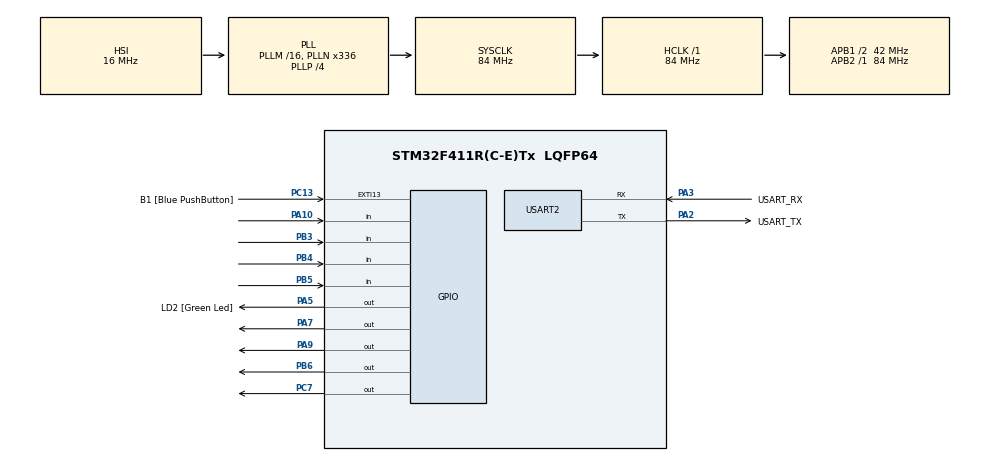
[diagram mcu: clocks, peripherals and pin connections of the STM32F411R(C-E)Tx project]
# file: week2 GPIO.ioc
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Mcu.Family=STM32F4
Mcu.Name=STM32F411R(C-E)Tx
Mcu.Package=LQFP64
NVIC.PriorityGroup=NVIC_PRIORITYGROUP_0
PA10.GPIO_PuPd=GPIO_PULLUP
PA10.Signal=GPIO_Input
PA13.GPIO_Label=TMS
PA13.Mode=Serial_Wire
PA13.Signal=SYS_JTMS-SWDIO
PA14.GPIO_Label=TCK
PA14.Mode=Serial_Wire
PA14.Signal=SYS_JTCK-SWCLK
PA2.GPIO_Label=USART_TX
PA2.Mode=Asynchronous
PA2.Signal=USART2_TX
PA3.GPIO_Label=USART_RX
PA3.Mode=Asynchronous
PA3.Signal=USART2_RX
PA5.GPIO_Label=LD2 [Green Led]
PA5.Signal=GPIO_Output
PA7.PinState=GPIO_PIN_SET
PA7.Signal=GPIO_Output
PA9.PinState=GPIO_PIN_SET
PA9.Signal=GPIO_Output
PB3.GPIO_PuPd=GPIO_PULLUP
PB3.Signal=GPIO_Input
PB4.GPIO_PuPd=GPIO_PULLUP
PB4.Signal=GPIO_Input
PB5.GPIO_PuPd=GPIO_PULLUP
PB5.Signal=GPIO_Input
PB6.PinState=GPIO_PIN_SET
PB6.Signal=GPIO_Output
PC13-ANTI_TAMP.GPIO_Label=B1 [Blue PushButton]
PC13-ANTI_TAMP.GPIO_ModeDefaultEXTI=GPIO_MODE_IT_FALLING
PC13-ANTI_TAMP.Signal=GPXTI13
PC14-OSC32_IN.Mode=LSE-External-Oscillator
PC14-OSC32_IN.Signal=RCC_OSC32_IN
PC15-OSC32_OUT.Mode=LSE-External-Oscillator
PC15-OSC32_OUT.Signal=RCC_OSC32_OUT
PC7.PinState=GPIO_PIN_SET
PC7.Signal=GPIO_Output
PH0\ -\ OSC_IN.Mode=HSE-External-Clock-Source
PH0\ -\ OSC_IN.Signal=RCC_OSC_IN
PH1\ -\ OSC_OUT.Mode=HSE-External-Clock-Source
PH1\ -\ OSC_OUT.Signal=RCC_OSC_OUT
ProjectManager.HeapSize=0x200
ProjectManager.StackSize=0x400
ProjectManager.TargetToolchain=STM32CubeIDE
RCC.48MHZClocksFreq_Value=84000000
RCC.AHBFreq_Value=84000000
RCC.APB1CLKDivider=RCC_HCLK_DIV2
RCC.APB1Freq_Value=42000000
RCC.APB1TimFreq_Value=84000000
RCC.APB2Freq_Value=84000000
RCC.APB2TimFreq_Value=84000000
RCC.CortexFreq_Value=84000000
RCC.FLatency-AdvancedSettings=FLASH_LATENCY_2
RCC.HCLKFreq_Value=84000000
RCC.HSE_VALUE=8000000
RCC.HSI_VALUE=16000000
RCC.PLLN=336
RCC.PLLP=RCC_PLLP_DIV4
RCC.SYSCLKFreq_VALUE=84000000
RCC.SYSCLKSource=RCC_SYSCLKSOURCE_PLLCLK
RCC.VCOOutputFreq_Value=336000000
USART2.VirtualMode=VM_ASYNC
board=NUCLEO-F411RE

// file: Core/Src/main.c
/* USER CODE BEGIN Header */
/**
  ******************************************************************************
  * @file           : main.c
  * @brief          : Main program body
  ******************************************************************************
  * @attention
  *
  * <h2><center>&copy; Copyright (c) 2021 STMicroelectronics.
  * All rights reserved.</center></h2>
  *
  * This software component is licensed by ST under BSD 3-Clause license,
  * the "License"; You may not use this file except in compliance with the
  * License. You may obtain a copy of the License at:
  *                        opensource.org/licenses/BSD-3-Clause
  *
  ******************************************************************************
  */
/* USER CODE END Header */
#include "main.h"

UART_HandleTypeDef huart2;

/* USER CODE BEGIN PV */

uint16_t ButtonMatrixState = 0;
uint32_t ButtonMatrixTimeStamp = 0;
uint16_t SwitchState[2];
int limit =0;
uint32_t State=0;
long long DataBuffer=0;
enum _StateDisplay
{
  StateDisplay_Start = 0,
  StateDisplay_Num1=1,
  StateDisplay_Num2=2,
  StateDisplay_Num3=3,
  StateDisplay_Num4=4,
  StateDisplay_Num5=5,
  StateDisplay_Num6=6,
  StateDisplay_Num7=7,
  StateDisplay_Num8=8,
  StateDisplay_Num9=9,
  StateDisplay_Num10=10,
  StateDisplay_Sucess=11,
  StateDisplay_Error=12
};
/* USER CODE END PV */

void SystemClock_Config(void);
static void MX_GPIO_Init(void);
static void MX_USART2_UART_Init(void);
/* USER CODE BEGIN PFP */

void ButtonMatrixUpdate(); //Scan and Update data of Button Matrix

/* USER CODE END PFP */

int main(void)
{

  /* MCU Configuration--------------------------------------------------------*/

  /* Reset of all peripherals, Initializes the Flash interface and the Systick. */
   HAL_Init();

  /* Configure the system clock */
  SystemClock_Config();

  /* Initialize all configured peripherals */
  MX_GPIO_Init();
  MX_USART2_UART_Init();
  /* USER CODE BEGIN 2 */
  //--------------------------------------------------------------------------------
  //GPIO_PinState SwitchState[2];
  //int DataBuffer=0;
  //int Show=0;

  //--------------------------------------------------------------------------------
  /* USER CODE END 2 */

  /* Infinite loop */
  /* USER CODE BEGIN WHILE */
  //long long DataBuffer=0;
  //--------------------------------------------------------------------------------
  while (1)
  {
	  ButtonMatrixUpdate();
	  check();
//	  if (DataBuffer >= 623405000220)
//	  {
//		  DataBuffer = 62340500022;
//	  }
	  if (DataBuffer > 99999999999)
	  {
		  DataBuffer = DataBuffer *0.1;
	  }
//	  if (SwitchState[0] == 0 && SwitchState[1] != 0)
//	 	  {
//	 		  SwitchState[1] = SwitchState[0];
//	 	  }
//	  SwitchState[0] = ButtonMatrixState;
//	  if(SwitchState[0] != 0 && SwitchState[1] == 0)
//	  {
//		  switch(State)
//		  {
//			  case StateDisplay_Start: //state=0 number 6
//				  if(ButtonMatrixState == 64)//6
//				  {
//					  State =1;
//				  }
//				  else if(ButtonMatrixState ==8 ) //clear
//				  {
//					  State=0;
//				  }
//				  else if(ButtonMatrixState ==128 ) //backspace
//				  {
//					  State=0;
//				  }
//				  else if(ButtonMatrixState ==2048 || ButtonMatrixState ==8192 || ButtonMatrixState ==16384) //blank
//				  {
//					State=0;
//				  }
//				  else //even ok is error
//				  {
//					State=StateDisplay_Error;
//				  }
//				  break;
//			  case StateDisplay_Num1 : //state = 1 number 2
//				  if(ButtonMatrixState == 512)//2
//				  {
//					  State =2;
//				  }
//				  else if(ButtonMatrixState ==8 ) //clear
//				  {
//					  State=0;
//				  }
//				  else if(ButtonMatrixState ==128 ) //backspace
//				  {
//					  State=0;
//				  }
//				  else if(ButtonMatrixState ==2048 || ButtonMatrixState ==8192 || ButtonMatrixState ==16384) //blank
//				  {
//					State=1;
//				  }
//				  else
//				  {
//					State=StateDisplay_Error;
//				  }
//				  break;
//			 case StateDisplay_Num2 : //state = 2 number 3
//				  if(ButtonMatrixState == 1024)//3
//				  {
//					  State =3;
//				  }
//				  else if(ButtonMatrixState ==8 ) //clear
//				  {
//					  State=0;
//				  }
//				  else if(ButtonMatrixState ==128 ) //backspace
//				  {
//					  State=0;
//				  }
//				  else if(ButtonMatrixState ==2048 || ButtonMatrixState ==8192 || ButtonMatrixState ==16384) //blank
//				  {
//					State=2;
//				  }
//				  else
//				  {
//					State=StateDisplay_Error;
//				  }
//				  break;
//			 case StateDisplay_Num3 : //state = 3 number 4
//				  if(ButtonMatrixState == 16)//4
//				  {
//					  State =4;
//				  }
//				  else if(ButtonMatrixState ==8 ) //clear
//				  {
//					  State=0;
//				  }
//				  else if(ButtonMatrixState ==128 ) //backspace
//				  {
//					  State=0;
//				  }
//				  else if(ButtonMatrixState ==2048 || ButtonMatrixState ==8192 || ButtonMatrixState ==16384) //blank
//				  {
//					State=3;
//				  }
//				  else
//				  {
//					State=StateDisplay_Error;
//				  }
//				  break;
//			  case StateDisplay_Num4 : //state = 4 number 0
//				  if(ButtonMatrixState == 4096)//0
//				  {
//					  State =5;
//				  }
//				  else if(ButtonMatrixState ==8 ) //clear
//				  {
//					  State=0;
//				  }
//				  else if(ButtonMatrixState ==128 ) //backspace
//				  {
//					  State=0;
//				  }
//				  else if(ButtonMatrixState ==2048 || ButtonMatrixState ==8192 || ButtonMatrixState ==16384) //blank
//				  {
//					State=4;
//				  }
//				  else
//				  {
//					State=StateDisplay_Error;
//				  }
//				  break;
//			  case StateDisplay_Num5 : //state = 5 number 5
//				  if(ButtonMatrixState == 32)//5
//				  {
//					  State =6;
//				  }
//				  else if(ButtonMatrixState ==8 ) //clear
//				  {
//					  State=0;
//				  }
//				  else if(ButtonMatrixState ==128 ) //backspace
//				  {
//					  State=0;
//				  }
//				  else if(ButtonMatrixState ==2048 || ButtonMatrixState ==8192 || ButtonMatrixState ==16384) //blank
//				  {
//					State=5;
//				  }
//				  else
//				  {
//					State=StateDisplay_Error;
//				  }
//				  break;
//			  case StateDisplay_Num6 : //state = 6 number 0
//				  if(ButtonMatrixState == 4096)//0
//				  {
//					  State =7;
//				  }
//				  else if(ButtonMatrixState ==8 ) //clear
//				  {
//					  State=0;
//				  }
//				  else if(ButtonMatrixState ==128 ) //backspace
//				  {
//					  State=0;
//				  }
//				  else if(ButtonMatrixState ==2048 || ButtonMatrixState ==8192 || ButtonMatrixState ==16384) //blank
//				  {
//					State=6;
//				  }
//				  else
//				  {
//					State=StateDisplay_Error;
//				  }
//				  break;
//			  case StateDisplay_Num7 : //state = 7 number 0
//				  if(ButtonMatrixState == 4096)//0
//				  {
//					  State =8;
//				  }
//				  else if(ButtonMatrixState ==8 ) //clear
//				  {
//					  State=0;
//				  }
//				  else if(ButtonMatrixState ==128 ) //backspace
//				  {
//					  State=0;
//				  }
//				  else if(ButtonMatrixState ==2048 || ButtonMatrixState ==8192 || ButtonMatrixState ==16384) //blank
//				  {
//					State=7;
//				  }
//				  else
//				  {
//					State=StateDisplay_Error;
//				  }
//				  break;
//			  case StateDisplay_Num8 : //state = 8 number 0
//				  if(ButtonMatrixState == 4096)//0
//				  {
//					  State =9;
//				  }
//				  else if(ButtonMatrixState ==8 ) //clear
//				  {
//					  State=0;
//				  }
//				  else if(ButtonMatrixState ==128 ) //backspace
//				  {
//					  State=0;
//				  }
//				  else if(ButtonMatrixState ==2048 || ButtonMatrixState ==8192 || ButtonMatrixState ==16384) //blank
//				  {
//					State=8;
//				  }
//				  else
//				  {
//					State=StateDisplay_Error;
//				  }
//				  break;
//			  case StateDisplay_Num9 : //state = 9 number 2
//				  if(ButtonMatrixState == 512)//2
//				  {
//					  State =10;
//				  }
//				  else if(ButtonMatrixState ==8 ) //clear
//				  {
//					  State=0;
//				  }
//				  else if(ButtonMatrixState ==128 ) //backspace
//				  {
//					  State=0;
//				  }
//				  else if(ButtonMatrixState ==2048 || ButtonMatrixState ==8192 || ButtonMatrixState ==16384) //blank
//				  {
//					State=9;
//				  }
//				  else
//				  {
//					State=StateDisplay_Error;
//				  }
//				  break;
//			  case StateDisplay_Num10 : //state = 10 number 2
//				  if(ButtonMatrixState == 512)//2
//				  {
//					  State =StateDisplay_Sucess;
//				  }
//				  else if(ButtonMatrixState ==8 ) //clear
//				  {
//					  State=0;
//				  }
//				  else if(ButtonMatrixState ==128 ) //backspace
//				  {
//					  State=0;
//				  }
//				  else if(ButtonMatrixState ==2048 || ButtonMatrixState ==8192 || ButtonMatrixState ==16384) //blank
//				  {
//					State=10;
//				  }
//				  else
//				  {
//					State=StateDisplay_Error;
//				  }
//				  break;
//			  case StateDisplay_Sucess:
//				  if(ButtonMatrixState == 32768)//ok
//				  {
//					  HAL_GPIO_WritePin(GPIOA, GPIO_PIN_5, GPIO_PIN_SET);
//					  State =11;
//				  }
//				  else if(ButtonMatrixState ==8 ) //clear
//				  {
//					  State=0;
//				  }
//				  else if(ButtonMatrixState ==128 ) //backspace
//				  {
//					  State=0;
//				  }
//				  else if(ButtonMatrixState ==2048 || ButtonMatrixState ==8192 || ButtonMatrixState ==16384) //blank
//				  {
//					State=11;
//				  }
//				  else
//				  {
//					State=StateDisplay_Error;
//				  }
//				  break;
//			  case StateDisplay_Error:
//				  if(ButtonMatrixState ==8 ) //clear
//				  {
//					  State=0;
//				  }
//				  else if(ButtonMatrixState ==128 ) //backspace
//				  {
//					  State=0;
//				  }
//				  else
//				  {
//					State=StateDisplay_Error;
//				  }
//				  break;
//		  }
//
//	  }
//	  SwitchState[1] = SwitchState[0];

  //--------------------------------------------------------------------------------
    /* USER CODE END WHILE */
  }
}
    /* USER CODE BEGIN 3 */
void check()
{
  SwitchState[0] = ButtonMatrixState;
  //Press = Low , No = High
  if(SwitchState[0] != 0 && SwitchState[1] == 0)
  {
	  DataBuffer = DataBuffer * 10;
	  if(ButtonMatrixState == 1)
	  {
	   DataBuffer += 7;
//	   HAL_GPIO_WritePin(GPIOA, GPIO_PIN_5, GPIO_PIN_RESET);
	  }
	  else if(ButtonMatrixState == 2)
	  {
		DataBuffer += 8;
//		HAL_GPIO_WritePin(GPIOA, GPIO_PIN_5, GPIO_PIN_RESET);
	  }
	  else if(ButtonMatrixState == 4)
	  {
	   DataBuffer += 9;
//	   HAL_GPIO_WritePin(GPIOA, GPIO_PIN_5, GPIO_PIN_RESET);
	  }
	  else if(ButtonMatrixState == 16)
	  {
		DataBuffer += 4;
		//	   HAL_GPIO_WritePin(GPIOA, GPIO_PIN_5, GPIO_PIN_RESET);
	  }
	  else if(ButtonMatrixState == 32)
	  {
		DataBuffer += 5;
//		HAL_GPIO_WritePin(GPIOA, GPIO_PIN_5, GPIO_PIN_RESET);
	  }
	  else if(ButtonMatrixState == 64)
	  {
		DataBuffer += 6;
//		HAL_GPIO_WritePin(GPIOA, GPIO_PIN_5, GPIO_PIN_RESET);
	  }
	  else if(ButtonMatrixState == 256)
	  {
		DataBuffer += 1;
//		HAL_GPIO_WritePin(GPIOA, GPIO_PIN_5, GPIO_PIN_RESET);
	  }
	  else if(ButtonMatrixState == 512)
	  {
		DataBuffer += 2;
//		HAL_GPIO_WritePin(GPIOA, GPIO_PIN_5, GPIO_PIN_RESET);
	  }
	  else if(ButtonMatrixState == 1024)
	  {
		DataBuffer += 3;
//		HAL_GPIO_WritePin(GPIOA, GPIO_PIN_5, GPIO_PIN_RESET);
	  }
	  else if(ButtonMatrixState == 4096)
	  {
		DataBuffer += 0;
//		HAL_GPIO_WritePin(GPIOA, GPIO_PIN_5, GPIO_PIN_RESET);
	  }
	  else if(ButtonMatrixState ==8 ) //clear
	  {
		HAL_GPIO_WritePin(GPIOA, GPIO_PIN_5, GPIO_PIN_RESET);
		DataBuffer = 0;
	  }
	  else if(ButtonMatrixState ==128 ) //backspace
	  {
//		HAL_GPIO_WritePin(GPIOA, GPIO_PIN_5, GPIO_PIN_RESET);
		DataBuffer = DataBuffer * 0.010;

	  }
	  else if(ButtonMatrixState ==32768) //ok
	  {
	   DataBuffer = DataBuffer * 0.10;
	   if(DataBuffer ==62340500022)
	   {
		   HAL_GPIO_WritePin(GPIOA, GPIO_PIN_5, GPIO_PIN_SET);
	   }
	   else
	   {
		   HAL_GPIO_WritePin(GPIOA, GPIO_PIN_5, GPIO_PIN_RESET);
	   }
	  }
	  else
	  {
	   DataBuffer = DataBuffer * 0.10;
	  }
	  SwitchState[1] = SwitchState[0];
  }
  if (SwitchState[0] == 0 && SwitchState[1] != 0)
	 	  {
	 		  SwitchState[1] = SwitchState[0];
	 	  }
 }
  /* USER CODE END 3 */

void SystemClock_Config(void)
{
  RCC_OscInitTypeDef RCC_OscInitStruct = {0};
  RCC_ClkInitTypeDef RCC_ClkInitStruct = {0};

  /** Configure the main internal regulator output voltage
  */
  __HAL_RCC_PWR_CLK_ENABLE();
  __HAL_PWR_VOLTAGESCALING_CONFIG(PWR_REGULATOR_VOLTAGE_SCALE1);
  /** Initializes the RCC Oscillators according to the specified parameters
  * in the RCC_OscInitTypeDef structure.
  */
  RCC_OscInitStruct.OscillatorType = RCC_OSCILLATORTYPE_HSI;
  RCC_OscInitStruct.HSIState = RCC_HSI_ON;
  RCC_OscInitStruct.HSICalibrationValue = RCC_HSICALIBRATION_DEFAULT;
  RCC_OscInitStruct.PLL.PLLState = RCC_PLL_ON;
  RCC_OscInitStruct.PLL.PLLSource = RCC_PLLSOURCE_HSI;
  RCC_OscInitStruct.PLL.PLLM = 16;
  RCC_OscInitStruct.PLL.PLLN = 336;
  RCC_OscInitStruct.PLL.PLLP = RCC_PLLP_DIV4;
  RCC_OscInitStruct.PLL.PLLQ = 4;
  if (HAL_RCC_OscConfig(&RCC_OscInitStruct) != HAL_OK)
  {
    Error_Handler();
  }
  /** Initializes the CPU, AHB and APB buses clocks
  */
  RCC_ClkInitStruct.ClockType = RCC_CLOCKTYPE_HCLK|RCC_CLOCKTYPE_SYSCLK
                              |RCC_CLOCKTYPE_PCLK1|RCC_CLOCKTYPE_PCLK2;
  RCC_ClkInitStruct.SYSCLKSource = RCC_SYSCLKSOURCE_PLLCLK;
  RCC_ClkInitStruct.AHBCLKDivider = RCC_SYSCLK_DIV1;
  RCC_ClkInitStruct.APB1CLKDivider = RCC_HCLK_DIV2;
  RCC_ClkInitStruct.APB2CLKDivider = RCC_HCLK_DIV1;

  if (HAL_RCC_ClockConfig(&RCC_ClkInitStruct, FLASH_LATENCY_2) != HAL_OK)
  {
    Error_Handler();
  }
}

static void MX_USART2_UART_Init(void)
{

  huart2.Instance = USART2;
  huart2.Init.BaudRate = 115200;
  huart2.Init.WordLength = UART_WORDLENGTH_8B;
  huart2.Init.StopBits = UART_STOPBITS_1;
  huart2.Init.Parity = UART_PARITY_NONE;
  huart2.Init.Mode = UART_MODE_TX_RX;
  huart2.Init.HwFlowCtl = UART_HWCONTROL_NONE;
  huart2.Init.OverSampling = UART_OVERSAMPLING_16;
  if (HAL_UART_Init(&huart2) != HAL_OK)
  {
    Error_Handler();
  }

}

static void MX_GPIO_Init(void)
{
  GPIO_InitTypeDef GPIO_InitStruct = {0};

  /* GPIO Ports Clock Enable */
  __HAL_RCC_GPIOC_CLK_ENABLE();
  __HAL_RCC_GPIOH_CLK_ENABLE();
  __HAL_RCC_GPIOA_CLK_ENABLE();
  __HAL_RCC_GPIOB_CLK_ENABLE();

  /*Configure GPIO pin Output Level */
  HAL_GPIO_WritePin(LD2_GPIO_Port, LD2_Pin, GPIO_PIN_RESET);

  /*Configure GPIO pin Output Level */
  HAL_GPIO_WritePin(GPIOA, GPIO_PIN_7|GPIO_PIN_9, GPIO_PIN_SET);

  /*Configure GPIO pin Output Level */
  HAL_GPIO_WritePin(GPIOC, GPIO_PIN_7, GPIO_PIN_SET);

  /*Configure GPIO pin Output Level */
  HAL_GPIO_WritePin(GPIOB, GPIO_PIN_6, GPIO_PIN_SET);

  /*Configure GPIO pin : B1_Pin */
  GPIO_InitStruct.Pin = B1_Pin;
  GPIO_InitStruct.Mode = GPIO_MODE_IT_FALLING;
  GPIO_InitStruct.Pull = GPIO_NOPULL;
  HAL_GPIO_Init(B1_GPIO_Port, &GPIO_InitStruct);

  /*Configure GPIO pins : LD2_Pin PA7 PA9 */
  GPIO_InitStruct.Pin = LD2_Pin|GPIO_PIN_7|GPIO_PIN_9;
  GPIO_InitStruct.Mode = GPIO_MODE_OUTPUT_PP;
  GPIO_InitStruct.Pull = GPIO_NOPULL;
  GPIO_InitStruct.Speed = GPIO_SPEED_FREQ_LOW;
  HAL_GPIO_Init(GPIOA, &GPIO_InitStruct);

  /*Configure GPIO pin : PC7 */
  GPIO_InitStruct.Pin = GPIO_PIN_7;
  GPIO_InitStruct.Mode = GPIO_MODE_OUTPUT_PP;
  GPIO_InitStruct.Pull = GPIO_NOPULL;
  GPIO_InitStruct.Speed = GPIO_SPEED_FREQ_LOW;
  HAL_GPIO_Init(GPIOC, &GPIO_InitStruct);

  /*Configure GPIO pin : PA10 */
  GPIO_InitStruct.Pin = GPIO_PIN_10;
  GPIO_InitStruct.Mode = GPIO_MODE_INPUT;
  GPIO_InitStruct.Pull = GPIO_PULLUP;
  HAL_GPIO_Init(GPIOA, &GPIO_InitStruct);

  /*Configure GPIO pins : PB3 PB4 PB5 */
  GPIO_InitStruct.Pin = GPIO_PIN_3|GPIO_PIN_4|GPIO_PIN_5;
  GPIO_InitStruct.Mode = GPIO_MODE_INPUT;
  GPIO_InitStruct.Pull = GPIO_PULLUP;
  HAL_GPIO_Init(GPIOB, &GPIO_InitStruct);

  /*Configure GPIO pin : PB6 */
  GPIO_InitStruct.Pin = GPIO_PIN_6;
  GPIO_InitStruct.Mode = GPIO_MODE_OUTPUT_PP;
  GPIO_InitStruct.Pull = GPIO_NOPULL;
  GPIO_InitStruct.Speed = GPIO_SPEED_FREQ_LOW;
  HAL_GPIO_Init(GPIOB, &GPIO_InitStruct);

}

/* USER CODE BEGIN 4 */
//Function Implementation
GPIO_TypeDef* ButtonMatrixPort[8] = {GPIOA,       GPIOB,      GPIOB,      GPIOB,
										GPIOA,      GPIOC,      GPIOB,      GPIOA     };
uint16_t      ButtonMatrixPin [8] = {GPIO_PIN_10, GPIO_PIN_3, GPIO_PIN_5, GPIO_PIN_4,
										GPIO_PIN_9, GPIO_PIN_7, GPIO_PIN_6, GPIO_PIN_7};
uint16_t       ButtonMatrixLine    = 0;
//GPIO_PinState SwitchState[2];
//long long DataBuffer=0;
int mod =0;
//long long Show= 62340500022;
void ButtonMatrixUpdate()
{
	if(HAL_GetTick() - ButtonMatrixTimeStamp >= 20)
	{
		ButtonMatrixTimeStamp = HAL_GetTick();
	         //Press = Low , No = High
		for(int i = 0; i < 4; i++)
		{
			GPIO_PinState PinState = HAL_GPIO_ReadPin(ButtonMatrixPort[i], ButtonMatrixPin[i]);
			if(PinState == GPIO_PIN_RESET) // Button is Pressed
			{
				ButtonMatrixState |= (uint16_t)1 << (i + ButtonMatrixLine * 4);
				//check();
			}
			else
			{
				ButtonMatrixState &= ~((uint16_t)1 << (i + ButtonMatrixLine * 4));

			}
		}
		uint8_t NowOutputPin = ButtonMatrixLine + 4;
		HAL_GPIO_WritePin(ButtonMatrixPort[NowOutputPin], ButtonMatrixPin[NowOutputPin], GPIO_PIN_SET);
		ButtonMatrixLine = (ButtonMatrixLine + 1) % 4;

		uint8_t NextOutputPin = ButtonMatrixLine + 4;
		HAL_GPIO_WritePin(ButtonMatrixPort[NextOutputPin], ButtonMatrixPin[NextOutputPin], GPIO_PIN_RESET);
		//SwitchState[0] = HAL_GPIO_ReadPin(ButtonMatrixPort[NowOutputPin], ButtonMatrixPin[NowOutputPin]);
	}
}

/* USER CODE END 4 */

void Error_Handler(void)
{
  __disable_irq();
  while (1)
  {
  }
}

/************************ (C) COPYRIGHT STMicroelectronics *****END OF FILE****/
